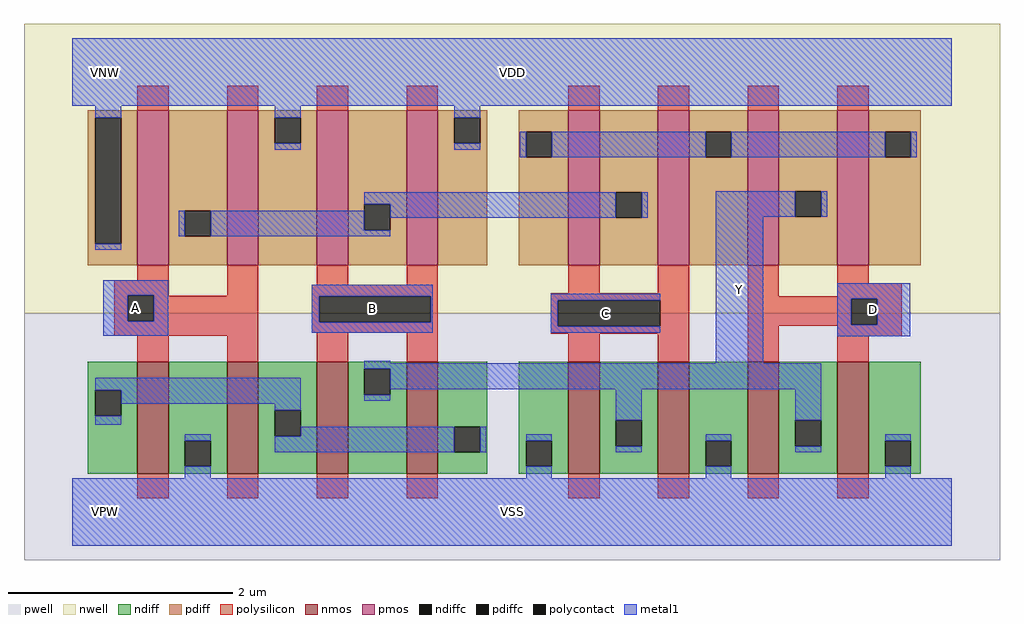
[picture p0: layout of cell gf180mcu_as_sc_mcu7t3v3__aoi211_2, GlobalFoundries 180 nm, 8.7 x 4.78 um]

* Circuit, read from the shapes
.subckt gf180mcu_as_sc_mcu7t3v3__aoi211_2 VDD VNW VPW VSS A B C Y D
XM1 VSS A n1 VPW nfet_03v3 w=1u l=0.28u m=2
XM2 Y B n1 VPW nfet_03v3 w=1u l=0.28u m=2
XM3 Y C VSS VPW nfet_03v3 w=1u l=0.28u m=2
XM4 Y D VSS VPW nfet_03v3 w=1u l=0.28u m=2
XM5 n2 A VDD VNW pfet_03v3 w=1.38u l=0.28u m=2
XM6 n2 B VDD VNW pfet_03v3 w=1.38u l=0.28u m=2
XM7 n2 C n3 VNW pfet_03v3 w=1.38u l=0.28u m=2
XM8 Y D n3 VNW pfet_03v3 w=1.38u l=0.28u m=2
.ends

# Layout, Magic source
magic
tech gf180mcuD
magscale 1 10
<< nwell >>
rect -86 354 1654 870
<< pwell >>
rect -86 -86 1654 354
<< nmos >>
rect 116 68 172 268
rect 276 68 332 268
rect 436 68 492 268
rect 596 68 652 268
rect 884 68 940 268
rect 1044 68 1100 268
rect 1204 68 1260 268
rect 1364 68 1420 268
<< pmos >>
rect 116 440 172 716
rect 276 440 332 716
rect 436 440 492 716
rect 596 440 652 716
rect 884 440 940 716
rect 1044 440 1100 716
rect 1204 440 1260 716
rect 1364 440 1420 716
<< ndiff >>
rect 28 217 116 268
rect 28 171 41 217
rect 87 171 116 217
rect 28 68 116 171
rect 172 127 276 268
rect 172 81 201 127
rect 247 81 276 127
rect 172 68 276 81
rect 332 181 436 268
rect 332 135 361 181
rect 407 135 436 181
rect 332 68 436 135
rect 492 255 596 268
rect 492 209 521 255
rect 567 209 596 255
rect 492 68 596 209
rect 652 152 740 268
rect 652 106 681 152
rect 727 106 740 152
rect 652 68 740 106
rect 796 127 884 268
rect 796 81 809 127
rect 855 81 884 127
rect 796 68 884 81
rect 940 163 1044 268
rect 940 117 969 163
rect 1015 117 1044 163
rect 940 68 1044 117
rect 1100 127 1204 268
rect 1100 81 1129 127
rect 1175 81 1204 127
rect 1100 68 1204 81
rect 1260 163 1364 268
rect 1260 117 1289 163
rect 1335 117 1364 163
rect 1260 68 1364 117
rect 1420 127 1513 268
rect 1420 81 1449 127
rect 1495 81 1513 127
rect 1420 68 1513 81
<< pdiff >>
rect 28 703 116 716
rect 28 478 41 703
rect 87 478 116 703
rect 28 440 116 478
rect 172 537 276 716
rect 172 491 201 537
rect 247 491 276 537
rect 172 440 276 491
rect 332 703 436 716
rect 332 657 361 703
rect 407 657 436 703
rect 332 440 436 657
rect 492 548 596 716
rect 492 502 521 548
rect 567 502 596 548
rect 492 440 596 502
rect 652 703 740 716
rect 652 657 681 703
rect 727 657 740 703
rect 652 440 740 657
rect 796 678 884 716
rect 796 632 809 678
rect 855 632 884 678
rect 796 440 884 632
rect 940 570 1044 716
rect 940 524 969 570
rect 1015 524 1044 570
rect 940 440 1044 524
rect 1100 678 1204 716
rect 1100 632 1129 678
rect 1175 632 1204 678
rect 1100 440 1204 632
rect 1260 572 1364 716
rect 1260 526 1289 572
rect 1335 526 1364 572
rect 1260 440 1364 526
rect 1420 678 1513 716
rect 1420 632 1449 678
rect 1495 632 1513 678
rect 1420 440 1513 632
<< ndiffc >>
rect 41 171 87 217
rect 201 81 247 127
rect 361 135 407 181
rect 521 209 567 255
rect 681 106 727 152
rect 809 81 855 127
rect 969 117 1015 163
rect 1129 81 1175 127
rect 1289 117 1335 163
rect 1449 81 1495 127
<< pdiffc >>
rect 41 478 87 703
rect 201 491 247 537
rect 361 657 407 703
rect 521 502 567 548
rect 681 657 727 703
rect 809 632 855 678
rect 969 524 1015 570
rect 1129 632 1175 678
rect 1289 526 1335 572
rect 1449 632 1495 678
<< polysilicon >>
rect 116 716 172 760
rect 276 716 332 760
rect 436 716 492 760
rect 596 716 652 760
rect 884 716 940 760
rect 1044 716 1100 760
rect 1204 716 1260 760
rect 1364 716 1420 760
rect 116 413 172 440
rect 75 386 172 413
rect 75 340 99 386
rect 145 385 172 386
rect 276 385 332 440
rect 436 405 492 440
rect 596 405 652 440
rect 145 340 332 385
rect 75 314 332 340
rect 427 384 652 405
rect 884 390 940 440
rect 1044 390 1100 440
rect 427 338 440 384
rect 639 338 652 384
rect 427 319 652 338
rect 116 268 172 314
rect 276 268 332 314
rect 436 268 492 319
rect 596 268 652 319
rect 853 377 1100 390
rect 853 331 866 377
rect 1048 331 1100 377
rect 853 318 1100 331
rect 884 268 940 318
rect 1044 268 1100 318
rect 1204 384 1260 440
rect 1364 408 1420 440
rect 1364 384 1479 408
rect 1204 380 1479 384
rect 1204 334 1389 380
rect 1435 334 1479 380
rect 1204 332 1479 334
rect 1204 268 1260 332
rect 1364 313 1479 332
rect 1364 268 1420 313
rect 116 24 172 68
rect 276 24 332 68
rect 436 24 492 68
rect 596 24 652 68
rect 884 24 940 68
rect 1044 24 1100 68
rect 1204 24 1260 68
rect 1364 24 1420 68
<< polycontact >>
rect 99 340 145 386
rect 440 338 639 384
rect 866 331 1048 377
rect 1389 334 1435 380
<< metal1 >>
rect 0 724 1568 844
rect 41 703 87 724
rect 361 703 407 724
rect 361 646 407 657
rect 681 703 727 724
rect 681 646 727 657
rect 798 632 809 678
rect 855 632 1129 678
rect 1175 632 1449 678
rect 1495 632 1506 678
rect 521 548 969 570
rect 190 491 201 537
rect 247 502 521 537
rect 567 524 969 548
rect 1015 524 1026 570
rect 1147 526 1289 572
rect 1335 526 1346 572
rect 247 491 567 502
rect 41 467 87 478
rect 55 386 171 413
rect 55 340 99 386
rect 145 340 171 386
rect 55 314 171 340
rect 427 384 643 405
rect 427 338 440 384
rect 639 338 643 384
rect 427 319 643 338
rect 853 377 1048 389
rect 853 331 866 377
rect 853 319 1048 331
rect 521 265 567 269
rect 1147 265 1232 526
rect 1364 380 1494 408
rect 1364 334 1389 380
rect 1435 334 1494 380
rect 1364 313 1494 334
rect 521 255 1335 265
rect 41 217 407 239
rect 87 193 407 217
rect 567 219 1335 255
rect 521 198 567 209
rect 41 155 87 171
rect 361 181 407 193
rect 201 127 247 138
rect 969 163 1015 219
rect 407 135 681 152
rect 361 106 681 135
rect 727 106 738 152
rect 809 127 855 138
rect 201 60 247 81
rect 1289 163 1335 219
rect 969 106 1015 117
rect 1129 127 1175 138
rect 809 60 855 81
rect 1289 106 1335 117
rect 1449 127 1495 138
rect 1129 60 1175 81
rect 1449 60 1495 81
rect 0 -60 1568 60
<< labels >>
flabel metal1 s 0 724 1568 844 0 FreeSans 400 0 0 0 VDD
port 1 nsew power bidirectional abutment
flabel metal1 s 0 -60 1568 60 0 FreeSans 400 0 0 0 VSS
port 4 nsew ground bidirectional abutment
flabel nwell s 10 734 110 834 0 FreeSans 400 0 0 0 VNW
port 2 nsew power bidirectional
flabel pwell s 10 -50 110 50 0 FreeSans 400 0 0 0 VPW
port 3 nsew ground bidirectional
flabel metal1 55 314 171 413 0 FreeSans 200 0 0 0 A
port 5 nsew signal input
flabel metal1 427 319 643 405 0 FreeSans 200 0 0 0 B
port 6 nsew signal input
flabel metal1 853 319 1048 389 0 FreeSans 200 0 0 0 C
port 7 nsew signal input
flabel metal1 1147 220 1232 572 0 FreeSans 200 0 0 0 Y
port 8 nsew signal output
flabel metal1 1364 313 1494 408 0 FreeSans 200 0 0 0 D
port 9 nsew signal input
<< properties >>
string FIXED_BBOX 0 0 1568 784
string LEFclass CORE
string LEFsite unithd
string LEFsymmetry X Y
string MASKHINTS_NPLUS -16 -46 1584 354
string MASKHINTS_PPLUS -16 354 1584 830
<< end >>
